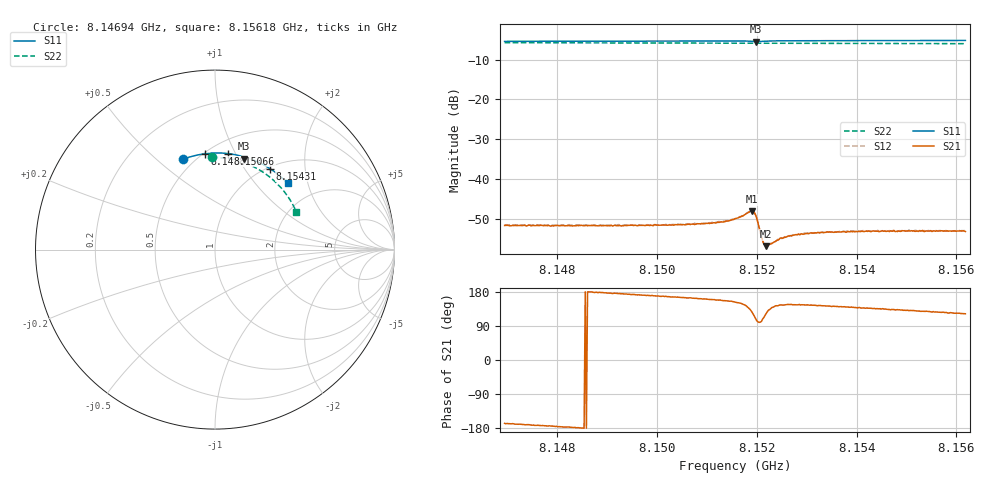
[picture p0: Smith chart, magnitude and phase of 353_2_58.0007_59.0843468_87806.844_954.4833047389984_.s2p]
#  HZ  S  RI  R  50.00
! Rohde & Schwarz Vector Network Analyzer
! Rohde-Schwarz,ZNB20-2Port,1311601062101988,3.16
! Created: UTC 3/21/2024, 1:06:06 AM
! freq[Hz]  re:S11  im:S11  re:S21  im:S21  re:S12  im:S12  re:S22  im:S22
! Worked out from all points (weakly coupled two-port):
!   401 points, 8.14694 GHz to 8.15618 GHz, reference 50 ohm
!   highest |S21| = -48.01 dB at 8.15191 GHz (marker M1); lowest = -56.8 dB at 8.15219 GHz (marker M2)
!   lowest |S11| = -5.5 dB at 8.15198 GHz (marker M3), VSWR 3.26, Z = 37.3 + j52.5 ohm
!   |S11| at or under -10 dB: nowhere
!   |S22| runs from -6.0 to -5.8 dB; largest |S21 - S12| = 0.00013
!   S11 on the Smith chart (normalised r, x): 8.14694 GHz: 0.43, +0.61; 8.14881 GHz: 0.51, +0.76; 8.15066 GHz: 0.62, +0.94; 8.15431 GHz: 1.03, +1.32; 8.15618 GHz: 1.43, +1.51
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8.146944e9  -0.181 0.5021  -0.00257 -0.000581  -0.00264 -0.000511  -0.014 0.5134
8.148491e9  -0.077 0.5309  -0.00265 -2.84e-05  -0.00269 1.25e-05  0.0866 0.5043
8.148814e9  -0.0547 0.5343  -0.0026 0.000103  -0.00263 0.000152  0.1072 0.4998
8.150038e9  0.0304 0.5382  -0.0026 0.00052  -0.0026 0.00057  0.1823 0.4759
8.150662e9  0.0739 0.5351  -0.0026 0.000741  -0.00262 0.000841  0.2188 0.4593
8.151286e9  0.1173 0.5278  -0.0027 0.00112  -0.00271 0.00116  0.2536 0.44
8.151563e9  0.1373 0.5231  -0.00284 0.00146  -0.00283 0.00151  0.2687 0.4304
8.15184e9  0.157 0.5134  -0.00282 0.00263  -0.0028 0.00267  0.2832 0.4202
8.151909e9  0.1598 0.5085  -0.00229 0.00325  -0.00225 0.0033  0.2865 0.4177
8.151955e9  0.1597 0.5061  -0.00156 0.00343  -0.00153 0.00346  0.2889 0.4159
8.151979e9  0.159 0.5058  -0.00112 0.00335  -0.00109 0.00336  0.2899 0.4152
8.152025e9  0.1587 0.507  -0.00051 0.00277  -0.000479 0.00281  0.2922 0.4135
8.152117e9  0.1635 0.5107  -0.000528 0.00161  -0.000468 0.00167  0.2969 0.4101
8.15214e9  0.1654 0.5112  -0.00058 0.00143  -0.000571 0.00145  0.2982 0.4094
8.152186e9  0.1692 0.5115  -0.000779 0.00122  -0.000777 0.00126  0.3005 0.4075
8.152233e9  0.173 0.5113  -0.000981 0.00111  -0.000959 0.00113  0.3028 0.4058
8.152441e9  0.1887 0.508  -0.00142 0.00102  -0.00143 0.00103  0.3133 0.3974
8.152625e9  0.2015 0.5038  -0.00163 0.00106  -0.00161 0.00108  0.3221 0.3899
8.15311e9  0.2335 0.4909  -0.00172 0.00123  -0.00172 0.00123  0.3447 0.369
8.154311e9  0.3068 0.451  -0.00161 0.00156  -0.00162 0.00156  0.3942 0.3121
8.154658e9  0.3264 0.4376  -0.00152 0.00161  -0.00154 0.00166  0.4067 0.2947
8.156182e9  0.4053 0.3687  -0.00118 0.00188  -0.0012 0.00193  0.4525 0.2115
